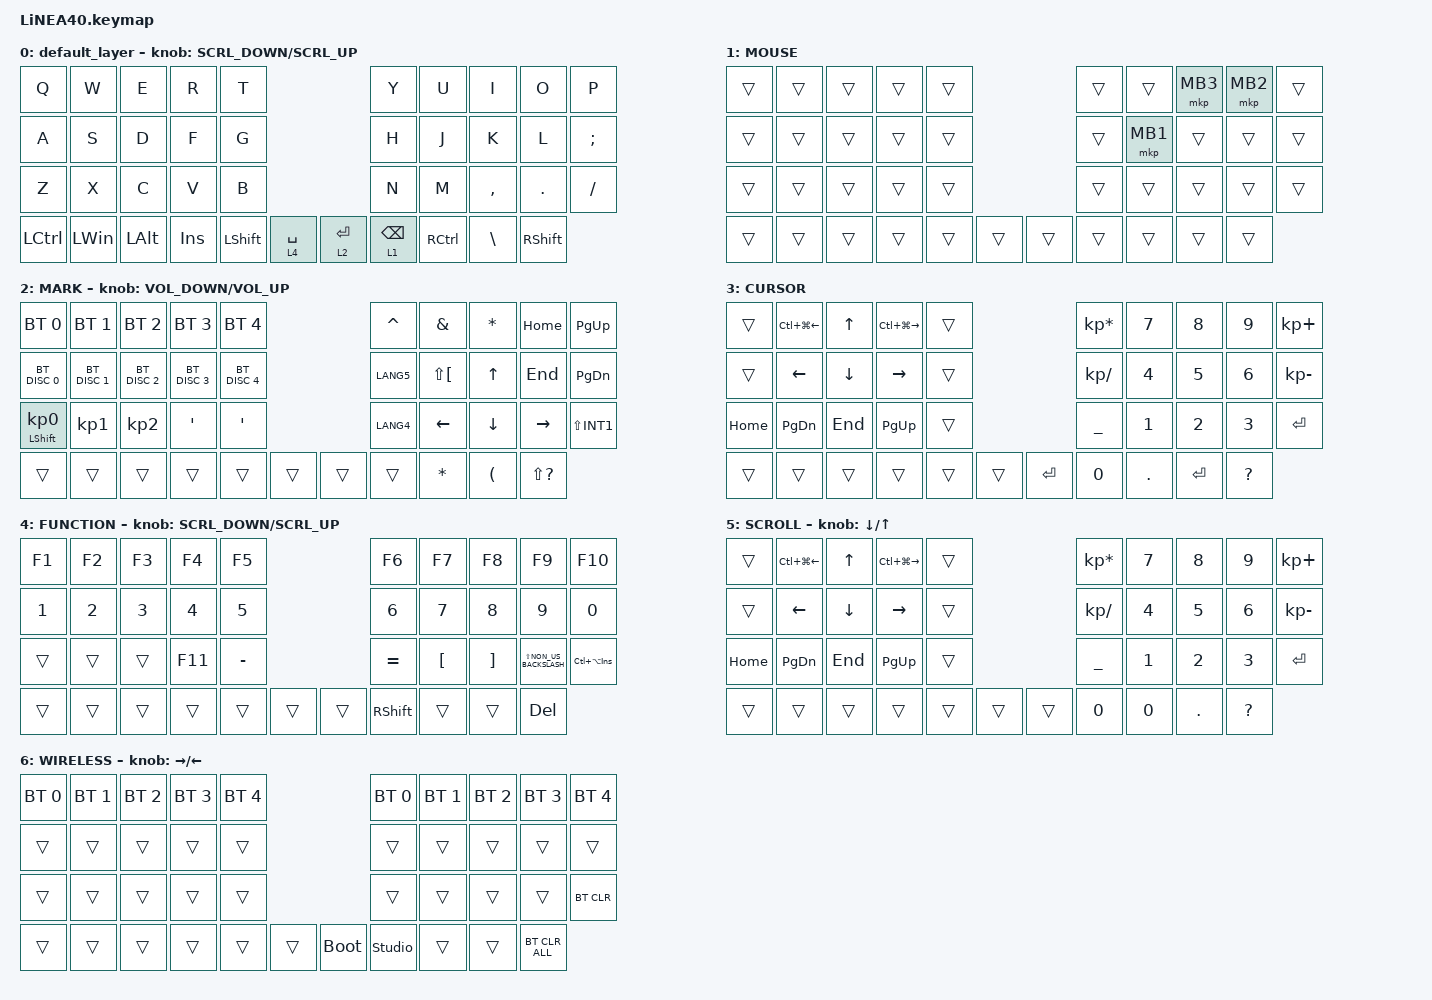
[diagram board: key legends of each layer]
#define ZMK_POINTING_DEFAULT_SCRL_VAL 150

#include <dt-bindings/zmk/input_transform.h>
#include <input/processors.dtsi>
#include <zephyr/dt-bindings/input/input-event-codes.h>
#include <behaviors.dtsi>
#include <dt-bindings/zmk/bt.h>
#include <dt-bindings/zmk/keys.h>
#include <dt-bindings/zmk/pointing.h>

#define MOUSE 1
#define MARK 2
#define CURSOR 3
#define FUNCTION 4
#define SCROLL 5
#define WIRELESS 6

//mouse cursol

&mmv {
    delay-ms = <20>;
    trigger-period-ms = <5>;
    time-to-max-speed-ms = <100>;
    acceleration-exponent = <2>;
};

//mouse scroll

&msc {
    delay-ms = <3>;
    trigger-period-ms = <3>;
    time-to-max-speed-ms = <100>;
    acceleration-exponent = <0>;
};

/ {
    input_processors {
        zip_wheel_scaler: zip_wheel_scaler {
            compatible = "zmk,input-processor-scaler";
            #input-processor-cells = <2>;
            type = <INPUT_EV_REL>;
            codes = <INPUT_REL_WHEEL>;
            track-remainders;
        };
    };
};

&msc_input_listener {
    speed_up {
        layers = <FUNCTION>;
        input-processors = <&zip_wheel_scaler 3 1>; //スクロールを3倍速にする
    };
};

&trackball_listener {
    scroller {
        layers = <SCROLL>;
        input-processors =
            <&zip_xy_transform INPUT_TRANSFORM_Y_INVERT>,
            //スクロール方向を逆転,,,,,,,
            <&zip_xy_to_scroll_mapper>;
    };
};

/ {
    combos {
        compatible = "zmk,combos";

        ZenkakuHankaku {
            bindings = <&kp GRAVE>;
            key-positions = <11 12>;
        };

        DeleteKey {
            bindings = <&kp DEL>;
            key-positions = <7 8>;
        };

        InsertKey {
            bindings = <&kp INS>;
            key-positions = <6 7>;
        };

        CenterClick {
            bindings = <&mkp MB3>;
            key-positions = <17 16>;
        };

        RightClick {
            bindings = <&mkp MB2>;
            key-positions = <18 17>;
        };

        PrevClick {
            bindings = <&mkp MB4>;
            key-positions = <27 28>;
        };

        ClickNext {
            bindings = <&mkp MB5>;
            key-positions = <26 27>;
        };
    };

    behaviors {
        re_kp: sensor_rotate_kp {
            compatible = "zmk,behavior-sensor-rotate-var";
            #sensor-binding-cells = <2>;
            bindings = <&kp>, <&kp>;
        };

        mouse_scrl: mouse_wheel_scrl {
            compatible = "zmk,behavior-sensor-rotate-var";
            #sensor-binding-cells = <2>;
            bindings = <&msc>, <&msc>;

            tap-ms = <20>;
        };
    };

    keymap {
        compatible = "zmk,keymap";

        default_layer {
            bindings = <
&kp Q      &kp W         &kp E         &kp R    &kp T                                       &kp Y            &kp U  &kp I      &kp O          &kp P
&kp A      &kp S         &kp D         &kp F    &kp G                                       &kp H            &kp J  &kp K      &kp L          &kp SEMICOLON
&kp Z      &kp X         &kp C         &kp V    &kp B                                       &kp N            &kp M  &kp COMMA  &kp DOT        &kp SLASH
&kp LCTRL  &kp LEFT_WIN  &kp LEFT_ALT  &kp INS  &kp LEFT_SHIFT  &lt 4 SPACE    &lt 2 ENTER  &lt 1 BACKSPACE         &kp RCTRL  &kp BACKSLASH  &kp RIGHT_SHIFT
            >;

            sensor-bindings = <&mouse_scrl SCRL_DOWN SCRL_UP>;
        };

        //1

        MOUSE {
            bindings = <
&trans  &trans  &trans  &trans  &trans                    &trans  &trans    &mkp MB3  &mkp MB2  &trans
&trans  &trans  &trans  &trans  &trans                    &trans  &mkp MB1  &trans    &trans    &trans
&trans  &trans  &trans  &trans  &trans                    &trans  &trans    &trans    &trans    &trans
&trans  &trans  &trans  &trans  &trans  &trans    &trans  &trans            &trans    &trans    &trans
            >;
        };

        //2

        MARK {
            bindings = <
&bt BT_SEL 0                &bt BT_SEL 1     &bt BT_SEL 2     &bt BT_SEL 3   &bt BT_SEL 4                     &kp CARET  &kp AMPERSAND  &kp ASTERISK  &kp HOME              &kp PG_UP
&bt BT_DISC 0               &bt BT_DISC 1    &bt BT_DISC 2    &bt BT_DISC 3  &bt BT_DISC 4                    &kp LANG5  &kp LS(LBKT)   &kp UP        &kp END               &kp PG_DN
&mt LEFT_SHIFT KP_NUMBER_0  &kp KP_NUMBER_1  &kp KP_NUMBER_2  &kp APOS       &kp SQT                          &kp LANG4  &kp LEFT       &kp DOWN      &kp RIGHT             &kp LS(INT1)
&trans                      &trans           &trans           &trans         &trans         &trans    &trans  &trans                    &kp ASTERISK  &kp LEFT_PARENTHESIS  &kp LS(QUESTION)
            >;

            sensor-bindings = <&re_kp C_VOLUME_DOWN C_VOLUME_UP>;
        };

        //3

        CURSOR {
            bindings = <
&trans    &kp LC(LG(LEFT_ARROW))  &kp UP_ARROW  &kp LC(LG(RIGHT_ARROW))  &trans                       &kp KP_MULTIPLY  &kp NUMBER_7  &kp NUMBER_8  &kp NUMBER_9  &kp KP_PLUS
&trans    &kp LEFT_ARROW          &kp DOWN      &kp RIGHT_ARROW          &trans                       &kp KP_SLASH     &kp NUMBER_4  &kp NUMBER_5  &kp NUMBER_6  &kp KP_MINUS
&kp HOME  &kp PAGE_DOWN           &kp END       &kp PAGE_UP              &trans                       &kp UNDER        &kp NUMBER_1  &kp NUMBER_2  &kp NUMBER_3  &kp ENTER
&trans    &trans                  &trans        &trans                   &trans  &trans    &kp ENTER  &kp NUMBER_0                   &kp DOT       &kp ENTER     &kp QUESTION
            >;
        };

        //4

        FUNCTION {
            bindings = <
&kp F1  &kp F2  &kp F3  &kp F4   &kp F5                       &kp F6           &kp F7            &kp F8             &kp F9                    &kp F10
&kp N1  &kp N2  &kp N3  &kp N4   &kp N5                       &kp N6           &kp N7            &kp N8             &kp NUMBER_9              &kp N0
&trans  &trans  &trans  &kp F11  &kp MINUS                    &kp EQUAL        &kp LEFT_BRACKET  &kp RIGHT_BRACKET  &kp LS(NON_US_BACKSLASH)  &kp LC(LA(INS))
&trans  &trans  &trans  &trans   &trans     &trans    &trans  &kp RIGHT_SHIFT                    &trans             &trans                    &kp DELETE
            >;

            sensor-bindings = <&mouse_scrl SCRL_DOWN SCRL_UP>;
        };

        //5

        SCROLL {
            bindings = <
&trans    &kp LC(LG(LEFT_ARROW))  &kp UP_ARROW  &kp LC(LG(RIGHT_ARROW))  &trans                    &kp KP_MULTIPLY  &kp NUMBER_7  &kp NUMBER_8  &kp NUMBER_9  &kp KP_PLUS
&trans    &kp LEFT_ARROW          &kp DOWN      &kp RIGHT_ARROW          &trans                    &kp KP_SLASH     &kp NUMBER_4  &kp NUMBER_5  &kp NUMBER_6  &kp KP_MINUS
&kp HOME  &kp PAGE_DOWN           &kp END       &kp PAGE_UP              &trans                    &kp UNDER        &kp NUMBER_1  &kp NUMBER_2  &kp NUMBER_3  &kp ENTER
&trans    &trans                  &trans        &trans                   &trans  &trans    &trans  &kp NUMBER_0                   &kp NUMBER_0  &kp DOT       &kp QUESTION
            >;

            sensor-bindings = <&inc_dec_kp DOWN_ARROW UP_ARROW>;
        };

        //6

        WIRELESS {
            bindings = <
&bt BT_SEL 0  &bt BT_SEL 1  &bt BT_SEL 2  &bt BT_SEL 3  &bt BT_SEL 4                         &bt BT_SEL 0    &bt BT_SEL 1  &bt BT_SEL 2  &bt BT_SEL 3  &bt BT_SEL 4
&trans        &trans        &trans        &trans        &trans                               &trans          &trans        &trans        &trans        &trans
&trans        &trans        &trans        &trans        &trans                               &trans          &trans        &trans        &trans        &bt BT_CLR
&trans        &trans        &trans        &trans        &trans        &trans    &bootloader  &studio_unlock                &trans        &trans        &bt BT_CLR_ALL
            >;

            sensor-bindings = <&inc_dec_kp RIGHT_ARROW LEFT_ARROW>;
        };
    };
};
